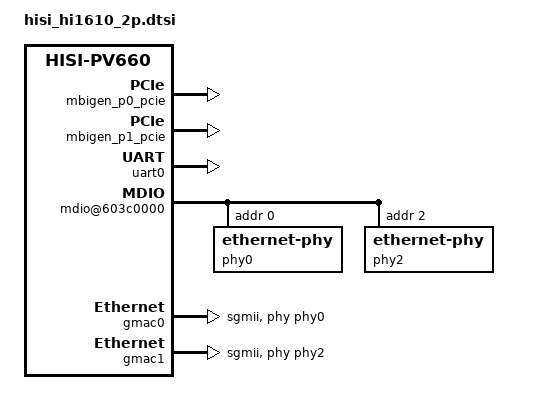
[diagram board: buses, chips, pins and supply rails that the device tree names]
/**
 * dts file for Hisilicon PhosphorV660 32core Soc
 *
 * Copyright (C) 2014,2015 Hisilicon Ltd.
 *
 * This program is free software; you can redistribute it and/or modify
 * it under the terms of the GNU General Public License version 2 as
 * publishhed by the Free Software Foundation.
 *
 */

/ {
	#address-cells = <2>;
	#size-cells = <2>;
	compatible = "hisilicon,hip05-D02", "hisilicon,hisi-pv660";
	interrupt-parent = <&gic0>;

	cpus {
		#address-cells = <1>;
		#size-cells = <0>;

		cpu-map {
			cluster0 {
				core0 {
					thread0 {
						cpu = <&CPU0>;
					};

					thread1 {
						cpu = <&CPU1>;
					};

					thread2 {
						cpu = <&CPU2>;
					};

					thread3 {
						cpu = <&CPU3>;
					};
				};

				core1 {
					thread0 {
						cpu = <&CPU4>;
					};

					thread1 {
						cpu = <&CPU5>;
					};

					thread2 {
						cpu = <&CPU6>;
					};

					thread3 {
						cpu = <&CPU7>;
					};
				};

				core2 {
					thread0 {
						cpu = <&CPU8>;
					};

					thread1 {
						cpu = <&CPU9>;
					};

					thread2 {
						cpu = <&CPU10>;
					};

					thread3 {
						cpu = <&CPU11>;
					};
				};

				core3 {
					thread0 {
						cpu = <&CPU12>;
					};

					thread1 {
						cpu = <&CPU13>;
					};

					thread2 {
						cpu = <&CPU14>;
					};

					thread3 {
						cpu = <&CPU15>;
					};
				};
			};

			cluster1 {
				core0 {
					thread0 {
						cpu = <&CPU16>;
					};

					thread1 {
						cpu = <&CPU17>;
					};

					thread2 {
						cpu = <&CPU18>;
					};

					thread3 {
						cpu = <&CPU19>;
					};
				};

				core1 {
					thread0 {
						cpu = <&CPU20>;
					};

					thread1 {
						cpu = <&CPU21>;
					};

					thread2 {
						cpu = <&CPU22>;
					};

					thread3 {
						cpu = <&CPU23>;
					};
				};

				core2 {
					thread0 {
						cpu = <&CPU24>;
					};

					thread1 {
						cpu = <&CPU25>;
					};

					thread2 {
						cpu = <&CPU26>;
					};

					thread3 {
						cpu = <&CPU27>;
					};
				};

				core3 {
					thread0 {
						cpu = <&CPU28>;
					};

					thread1 {
						cpu = <&CPU29>;
					};

					thread2 {
						cpu = <&CPU30>;
					};

					thread3 {
						cpu = <&CPU31>;
					};
				};
			};

			cluster2 {
				core0 {
					thread0 {
						cpu = <&CPU32>;
					};

					thread1 {
						cpu = <&CPU33>;
					};

					thread2 {
						cpu = <&CPU34>;
					};

					thread3 {
						cpu = <&CPU35>;
					};
				};

				core1 {
					thread0 {
						cpu = <&CPU36>;
					};

					thread1 {
						cpu = <&CPU37>;
					};

					thread2 {
						cpu = <&CPU38>;
					};

					thread3 {
						cpu = <&CPU39>;
					};
				};

				core2 {
					thread0 {
						cpu = <&CPU40>;
					};

					thread1 {
						cpu = <&CPU41>;
					};

					thread2 {
						cpu = <&CPU42>;
					};

					thread3 {
						cpu = <&CPU43>;
					};
				};

				core3 {
					thread0 {
						cpu = <&CPU44>;
					};

					thread1 {
						cpu = <&CPU45>;
					};

					thread2 {
						cpu = <&CPU46>;
					};

					thread3 {
						cpu = <&CPU47>;
					};
				};
			};

			cluster3 {
				core0 {
					thread0 {
						cpu = <&CPU48>;
					};

					thread1 {
						cpu = <&CPU49>;
					};

					thread2 {
						cpu = <&CPU50>;
					};

					thread3 {
						cpu = <&CPU51>;
					};
				};

				core1 {
					thread0 {
						cpu = <&CPU52>;
					};

					thread1 {
						cpu = <&CPU53>;
					};

					thread2 {
						cpu = <&CPU54>;
					};

					thread3 {
						cpu = <&CPU55>;
					};
				};

				core2 {
					thread0 {
						cpu = <&CPU56>;
					};

					thread1 {
						cpu = <&CPU57>;
					};

					thread2 {
						cpu = <&CPU58>;
					};

					thread3 {
						cpu = <&CPU59>;
					};
				};

				core3 {
					thread0 {
						cpu = <&CPU60>;
					};

					thread1 {
						cpu = <&CPU61>;
					};

					thread2 {
						cpu = <&CPU62>;
					};

					thread3 {
						cpu = <&CPU63>;
					};
				};
			};
		};

		CPU0: cpu@10000 {
			device_type = "cpu";
			compatible = "arm,armv8";
			reg = <0x10000>;
			enable-method = "spin-table";
			cpu-release-addr = <0x0 0xfff8>;
		};

		CPU1: cpu@10001 {
			device_type = "cpu";
			compatible = "arm,armv8";
			reg = <0x10001>;
			enable-method = "spin-table";
			cpu-release-addr = <0x0 0xfff8>;
		};

		CPU2: cpu@10002 {
			device_type = "cpu";
			compatible = "arm,armv8";
			reg = <0x10002>;
			enable-method = "spin-table";
			cpu-release-addr = <0x0 0xfff8>;
		};

		CPU3: cpu@10003 {
			device_type = "cpu";
			compatible = "arm,armv8";
			reg = <0x10003>;
			enable-method = "spin-table";
			cpu-release-addr = <0x0 0xfff8>;
		};

		CPU4: cpu@10100 {
			device_type = "cpu";
			compatible = "arm,armv8";
			reg = <0x10100>;
			enable-method = "spin-table";
			cpu-release-addr = <0x0 0xfff8>;
		};

		CPU5: cpu@10101 {
			device_type = "cpu";
			compatible = "arm,armv8";
			reg = <0x10101>;
			enable-method = "spin-table";
			cpu-release-addr = <0x0 0xfff8>;
		};

		CPU6: cpu@10102 {
			device_type = "cpu";
			compatible = "arm,armv8";
			reg = <0x10102>;
			enable-method = "spin-table";
			cpu-release-addr = <0x0 0xfff8>;
		};

		CPU7: cpu@10103 {
			device_type = "cpu";
			compatible = "arm,armv8";
			reg = <0x10103>;
			enable-method = "spin-table";
			cpu-release-addr = <0x0 0xfff8>;
		};

		CPU8: cpu@10200 {
			device_type = "cpu";
			compatible = "arm,armv8";
			reg = <0x10200>;
			enable-method = "spin-table";
			cpu-release-addr = <0x0 0xfff8>;
		};

		CPU9: cpu@10201 {
			device_type = "cpu";
			compatible = "arm,armv8";
			reg = <0x10201>;
			enable-method = "spin-table";
			cpu-release-addr = <0x0 0xfff8>;
		};

		CPU10: cpu@10202 {
			device_type = "cpu";
			compatible = "arm,armv8";
			reg = <0x10202>;
			enable-method = "spin-table";
			cpu-release-addr = <0x0 0xfff8>;
		};

		CPU11: cpu@10203 {
			device_type = "cpu";
			compatible = "arm,armv8";
			reg = <0x10203>;
			enable-method = "spin-table";
			cpu-release-addr = <0x0 0xfff8>;
		};

		CPU12: cpu@10300 {
			device_type = "cpu";
			compatible = "arm,armv8";
			reg = <0x10300>;
			enable-method = "spin-table";
			cpu-release-addr = <0x0 0xfff8>;
		};

		CPU13: cpu@10301 {
			device_type = "cpu";
			compatible = "arm,armv8";
			reg = <0x10301>;
			enable-method = "spin-table";
			cpu-release-addr = <0x0 0xfff8>;
		};

		CPU14: cpu@10302 {
			device_type = "cpu";
			compatible = "arm,armv8";
			reg = <0x10302>;
			enable-method = "spin-table";
			cpu-release-addr = <0x0 0xfff8>;
		};

		CPU15: cpu@10303 {
			device_type = "cpu";
			compatible = "arm,armv8";
			reg = <0x10303>;
			enable-method = "spin-table";
			cpu-release-addr = <0x0 0xfff8>;
		};

		CPU16: cpu@20000 {
			device_type = "cpu";
			compatible = "arm,armv8";
			reg = <0x20000>;
			enable-method = "spin-table";
			cpu-release-addr = <0x0 0xfff8>;
		};

		CPU17: cpu@20001 {
			device_type = "cpu";
			compatible = "arm,armv8";
			reg = <0x20001>;
			enable-method = "spin-table";
			cpu-release-addr = <0x0 0xfff8>;
		};

		CPU18: cpu@20002 {
			device_type = "cpu";
			compatible = "arm,armv8";
			reg = <0x20002>;
			enable-method = "spin-table";
			cpu-release-addr = <0x0 0xfff8>;
		};

		CPU19: cpu@20003 {
			device_type = "cpu";
			compatible = "arm,armv8";
			reg = <0x20003>;
			enable-method = "spin-table";
			cpu-release-addr = <0x0 0xfff8>;
		};

		CPU20: cpu@20100 {
			device_type = "cpu";
			compatible = "arm,armv8";
			reg = <0x20100>;
			enable-method = "spin-table";
			cpu-release-addr = <0x0 0xfff8>;
		};

		CPU21: cpu@20101 {
			device_type = "cpu";
			compatible = "arm,armv8";
			reg = <0x20101>;
			enable-method = "spin-table";
			cpu-release-addr = <0x0 0xfff8>;
		};

		CPU22: cpu@20102 {
			device_type = "cpu";
			compatible = "arm,armv8";
			reg = <0x20102>;
			enable-method = "spin-table";
			cpu-release-addr = <0x0 0xfff8>;
		};

		CPU23: cpu@20103 {
			device_type = "cpu";
			compatible = "arm,armv8";
			reg = <0x20103>;
			enable-method = "spin-table";
			cpu-release-addr = <0x0 0xfff8>;
		};

		CPU24: cpu@20200 {
			device_type = "cpu";
			compatible = "arm,armv8";
			reg = <0x20200>;
			enable-method = "spin-table";
			cpu-release-addr = <0x0 0xfff8>;
		};

		CPU25: cpu@20201 {
			device_type = "cpu";
			compatible = "arm,armv8";
			reg = <0x20201>;
			enable-method = "spin-table";
			cpu-release-addr = <0x0 0xfff8>;
		};

		CPU26: cpu@20202 {
			device_type = "cpu";
			compatible = "arm,armv8";
			reg = <0x20202>;
			enable-method = "spin-table";
			cpu-release-addr = <0x0 0xfff8>;
		};

		CPU27: cpu@20203 {
			device_type = "cpu";
			compatible = "arm,armv8";
			reg = <0x20203>;
			enable-method = "spin-table";
			cpu-release-addr = <0x0 0xfff8>;
		};

		CPU28: cpu@20300 {
			device_type = "cpu";
			compatible = "arm,armv8";
			reg = <0x20300>;
			enable-method = "spin-table";
			cpu-release-addr = <0x0 0xfff8>;
		};

		CPU29: cpu@20301 {
			device_type = "cpu";
			compatible = "arm,armv8";
			reg = <0x20301>;
			enable-method = "spin-table";
			cpu-release-addr = <0x0 0xfff8>;
		};

		CPU30: cpu@20302 {
			device_type = "cpu";
			compatible = "arm,armv8";
			reg = <0x20302>;
			enable-method = "spin-table";
			cpu-release-addr = <0x0 0xfff8>;
		};

		CPU31: cpu@20303 {
			device_type = "cpu";
			compatible = "arm,armv8";
			reg = <0x20303>;
			enable-method = "spin-table";
			cpu-release-addr = <0x0 0xfff8>;
		};

		CPU32: cpu@50000 {
			device_type = "cpu";
			compatible = "arm,armv8";
			reg = <0x50000>;
			enable-method = "spin-table";
			cpu-release-addr = <0x0 0xfff8>;
		};

		CPU33: cpu@50001 {
			device_type = "cpu";
			compatible = "arm,armv8";
			reg = <0x50001>;
			enable-method = "spin-table";
			cpu-release-addr = <0x0 0xfff8>;
		};

		CPU34: cpu@50002 {
			device_type = "cpu";
			compatible = "arm,armv8";
			reg = <0x50002>;
			enable-method = "spin-table";
			cpu-release-addr = <0x0 0xfff8>;
		};

		CPU35: cpu@50003 {
			device_type = "cpu";
			compatible = "arm,armv8";
			reg = <0x50003>;
			enable-method = "spin-table";
			cpu-release-addr = <0x0 0xfff8>;
		};

		CPU36: cpu@50100 {
			device_type = "cpu";
			compatible = "arm,armv8";
			reg = <0x50100>;
			enable-method = "spin-table";
			cpu-release-addr = <0x0 0xfff8>;
		};

		CPU37: cpu@50101 {
			device_type = "cpu";
			compatible = "arm,armv8";
			reg = <0x50101>;
			enable-method = "spin-table";
			cpu-release-addr = <0x0 0xfff8>;
		};

		CPU38: cpu@50102 {
			device_type = "cpu";
			compatible = "arm,armv8";
			reg = <0x50102>;
			enable-method = "spin-table";
			cpu-release-addr = <0x0 0xfff8>;
		};

		CPU39: cpu@50103 {
			device_type = "cpu";
			compatible = "arm,armv8";
			reg = <0x50103>;
			enable-method = "spin-table";
			cpu-release-addr = <0x0 0xfff8>;
		};

		CPU40: cpu@50200 {
			device_type = "cpu";
			compatible = "arm,armv8";
			reg = <0x50200>;
			enable-method = "spin-table";
			cpu-release-addr = <0x0 0xfff8>;
		};

		CPU41: cpu@50201 {
			device_type = "cpu";
			compatible = "arm,armv8";
			reg = <0x50201>;
			enable-method = "spin-table";
			cpu-release-addr = <0x0 0xfff8>;
		};

		CPU42: cpu@50202 {
			device_type = "cpu";
			compatible = "arm,armv8";
			reg = <0x50202>;
			enable-method = "spin-table";
			cpu-release-addr = <0x0 0xfff8>;
		};

		CPU43: cpu@50203 {
			device_type = "cpu";
			compatible = "arm,armv8";
			reg = <0x50203>;
			enable-method = "spin-table";
			cpu-release-addr = <0x0 0xfff8>;
		};

		CPU44: cpu@50300 {
			device_type = "cpu";
			compatible = "arm,armv8";
			reg = <0x50300>;
			enable-method = "spin-table";
			cpu-release-addr = <0x0 0xfff8>;
		};

		CPU45: cpu@50301 {
			device_type = "cpu";
			compatible = "arm,armv8";
			reg = <0x50301>;
			enable-method = "spin-table";
			cpu-release-addr = <0x0 0xfff8>;
		};

		CPU46: cpu@50302 {
			device_type = "cpu";
			compatible = "arm,armv8";
			reg = <0x50302>;
			enable-method = "spin-table";
			cpu-release-addr = <0x0 0xfff8>;
		};

		CPU47: cpu@50303 {
			device_type = "cpu";
			compatible = "arm,armv8";
			reg = <0x50303>;
			enable-method = "spin-table";
			cpu-release-addr = <0x0 0xfff8>;
		};

		CPU48: cpu@60000 {
			device_type = "cpu";
			compatible = "arm,armv8";
			reg = <0x60000>;
			enable-method = "spin-table";
			cpu-release-addr = <0x0 0xfff8>;
		};

		CPU49: cpu@60001 {
			device_type = "cpu";
			compatible = "arm,armv8";
			reg = <0x60001>;
			enable-method = "spin-table";
			cpu-release-addr = <0x0 0xfff8>;
		};

		CPU50: cpu@60002 {
			device_type = "cpu";
			compatible = "arm,armv8";
			reg = <0x60002>;
			enable-method = "spin-table";
			cpu-release-addr = <0x0 0xfff8>;
		};

		CPU51: cpu@60003 {
			device_type = "cpu";
			compatible = "arm,armv8";
			reg = <0x60003>;
			enable-method = "spin-table";
			cpu-release-addr = <0x0 0xfff8>;
		};

		CPU52: cpu@60100 {
			device_type = "cpu";
			compatible = "arm,armv8";
			reg = <0x60100>;
			enable-method = "spin-table";
			cpu-release-addr = <0x0 0xfff8>;
		};

		CPU53: cpu@60101 {
			device_type = "cpu";
			compatible = "arm,armv8";
			reg = <0x60101>;
			enable-method = "spin-table";
			cpu-release-addr = <0x0 0xfff8>;
		};

		CPU54: cpu@60102 {
			device_type = "cpu";
			compatible = "arm,armv8";
			reg = <0x60102>;
			enable-method = "spin-table";
			cpu-release-addr = <0x0 0xfff8>;
		};

		CPU55: cpu@60103 {
			device_type = "cpu";
			compatible = "arm,armv8";
			reg = <0x60103>;
			enable-method = "spin-table";
			cpu-release-addr = <0x0 0xfff8>;
		};

		CPU56: cpu@60200 {
			device_type = "cpu";
			compatible = "arm,armv8";
			reg = <0x60200>;
			enable-method = "spin-table";
			cpu-release-addr = <0x0 0xfff8>;
		};

		CPU57: cpu@60201 {
			device_type = "cpu";
			compatible = "arm,armv8";
			reg = <0x60201>;
			enable-method = "spin-table";
			cpu-release-addr = <0x0 0xfff8>;
		};

		CPU58: cpu@60202 {
			device_type = "cpu";
			compatible = "arm,armv8";
			reg = <0x60202>;
			enable-method = "spin-table";
			cpu-release-addr = <0x0 0xfff8>;
		};

		CPU59: cpu@60203 {
			device_type = "cpu";
			compatible = "arm,armv8";
			reg = <0x60203>;
			enable-method = "spin-table";
			cpu-release-addr = <0x0 0xfff8>;
		};

		CPU60: cpu@60300 {
			device_type = "cpu";
			compatible = "arm,armv8";
			reg = <0x60300>;
			enable-method = "spin-table";
			cpu-release-addr = <0x0 0xfff8>;
		};

		CPU61: cpu@60301 {
			device_type = "cpu";
			compatible = "arm,armv8";
			reg = <0x60301>;
			enable-method = "spin-table";
			cpu-release-addr = <0x0 0xfff8>;
		};

		CPU62: cpu@60302 {
			device_type = "cpu";
			compatible = "arm,armv8";
			reg = <0x60302>;
			enable-method = "spin-table";
			cpu-release-addr = <0x0 0xfff8>;
		};

		CPU63: cpu@60303 {
			device_type = "cpu";
			compatible = "arm,armv8";
			reg = <0x60303>;
			enable-method = "spin-table";
			cpu-release-addr = <0x0 0xfff8>;
		};

	};

	gic0: interrupt-controller@6d000000 {
		compatible = "hisilicon,gic-v3";
		#interrupt-cells = <3>;
		#address-cells = <2>;
		#size-cells = <2>;
		ranges;
		interrupt-controller;
		#redistributor-regions = <4>;
		redistributor-stride = <0x0 0x30000>;
		reg = <0x0 0x6d000000 0x0 0x10000>,	/* P0 GICD A*/
		      <0x0 0x6d100000 0x0 0x300000>,	/* P0 GICR A*/
		      <0x0 0x4d100000 0x0 0x300000>,	/* P0 GICR C*/
		      <0x400 0x6d100000 0x0 0x300000>,	/* P1 GICR A*/
		      <0x400 0x4d100000 0x0 0x300000>,	/* P1 GICR C*/
		      <0x0 0xfe000000 0 0x10000>,	/* GICC */
		      <0x0 0xfe010000 0 0x10000>,	/* GICH */
		      <0x0 0xfe020000 0 0x10000>;	/* GICV */

		interrupts = <1 9 0xff04>;

		p0_its_dsa: interrupt-controller@c6000000 {
			compatible = "arm,gic-v3-its";
			msi-controller;
			reg = <0x0 0xc6000000 0x0 0x1000000>;
		};

		p1_its_dsa: interrupt-controller@400c6000000 {
			compatible = "arm,gic-v3-its";
			msi-controller;
			reg = <0x400 0xc6000000 0x0 0x1000000>;
		};
	};

	gic1: interrupt-controller@4d000000 {		/* P0 GICD C*/
		compatible = "hisilicon,gic-v3";
		#interrupt-cells = <3>;
		#address-cells = <2>;
		#size-cells = <2>;
		interrupt-controller;
		reg = <0x0 0x4d000000 0x0 0x10000>;
	};

	gic2: interrupt-controller@4006d000000 {	/* P1 GICD A*/
		compatible = "hisilicon,gic-v3";
		#interrupt-cells = <3>;
		#address-cells = <2>;
		#size-cells = <2>;
		interrupt-controller;
		reg = <0x400 0x6d000000 0x0 0x10000>;
	};

	gic3: interrupt-controller@4004d000000 {	/* P1 GICD C*/
		compatible = "hisilicon,gic-v3";
		#interrupt-cells = <3>;
		#address-cells = <2>;
		#size-cells = <2>;
		interrupt-controller;
		reg = <0x400 0x4d000000 0x0 0x10000>;
	};
/*
	smmu_p0_ta@40040000 {
		compatible = "hisilicon,smmu-v1";
		reg = <0x0 0x40040000 0x0 0x1000>;
		#global-interrupts = <1>;
		interrupts = <0 188 4>,
			     <0 188 4>;
		smmu-cb-memtype = <0 1>;
		smmu-bypass-vmid = <0xff>;
	};

	smmu_p0_tc@60040000 {
		compatible = "hisilicon,smmu-v1";
		reg = <0x0 0x60040000 0x0 0x1000>;
		#global-interrupts = <1>;
		interrupts = <0 316 4>,
			     <0 316 4>;
		smmu-cb-memtype = <0 1>;
		smmu-bypass-vmid = <0xff>;
	};

	smmu_p0_m3@a0040000 {
		compatible = "hisilicon,smmu-v1";
		interrupt-parent = <&mbigen_p0_m3>;
		reg = <0x0 0xa0040000 0x0 0x1000>;
		#global-interrupts = <1>;
		interrupts = <65 1>,
			     <65 1>;
		smmu-cb-memtype = <0 1>;
		smmu-bypass-vmid = <0xff>;
	};

	smmu_p0_alg@d0040000 {
		compatible = "hisilicon,smmu-v1";
		interrupt-parent = <&mbigen_p0_alg>;
		reg = <0x0 0xd0040000 0x0 0x1000>;
		#global-interrupts = <1>;
		interrupts = <67 1>,
			     <67 1>;
		smmu-cb-memtype = <0 1>;
		smmu-bypass-vmid = <0xff>;
	};

	smmu_p0_dsa@c0040000 {
		compatible = "hisilicon,smmu-v1";
		interrupt-parent = <&mbigen_p0_dsa>;
		reg = <0x0 0xc0040000 0x0 0x1000>;
		#global-interrupts = <1>;
		interrupts = <69 4>,
			     <69 4>;
		smmu-cb-memtype = <0 1>;
		smmu-bypass-vmid = <0xff>;
	};

	smmu_p0_pcie@b0040000 {
		compatible = "hisilicon,smmu-v1";
		interrupt-parent = <&mbigen_p0_pcie>;
		reg = <0x0 0xb0040000 0x0 0x1000>;
		#global-interrupts = <1>;
		interrupts = <71 1>,
			     <71 1>;
		smmu-cb-memtype = <0 1>, <1 2>;
		smmu-bypass-vmid = <0xff>;
	};

	smmu_p1_ta@40040040000 {
		compatible = "hisilicon,smmu-v1";
		reg = <0x400 0x40040000 0x0 0x1000>;
		#global-interrupts = <1>;
		interrupts = <0 188 4>,
			     <0 188 4>;
		smmu-cb-memtype = <0 1>;
		smmu-bypass-vmid = <0xff>;
	};

	smmu_p1_tc@40060040000 {
		compatible = "hisilicon,smmu-v1";
		reg = <0x400 0x60040000 0x0 0x1000>;
		#global-interrupts = <1>;
		interrupts = <0 316 4>,
			     <0 316 4>;
		smmu-cb-memtype = <0 1>;
		smmu-bypass-vmid = <0xff>;
	};

	smmu_p1_m3@400a0040000 {
		compatible = "hisilicon,smmu-v1";
		interrupt-parent = <&mbigen_p1_m3>;
		reg = <0x400 0xa0040000 0x0 0x1000>;
		#global-interrupts = <1>;
		interrupts = <65 1>,
			     <65 1>;
		smmu-cb-memtype = <0 1>;
		smmu-bypass-vmid = <0xff>;
	};

	smmu_p1_alg@400d0040000 {
		compatible = "hisilicon,smmu-v1";
		interrupt-parent = <&mbigen_p1_alg>;
		reg = <0x400 0xd0040000 0x0 0x1000>;
		#global-interrupts = <1>;
		interrupts = <67 1>,
			     <67 1>;
		smmu-cb-memtype = <0 1>;
		smmu-bypass-vmid = <0xff>;
	};

	smmu_p1_dsa@400c0040000 {
		compatible = "hisilicon,smmu-v1";
		interrupt-parent = <&mbigen_p1_dsa>;
		reg = <0x400 0xc0040000 0x0 0x1000>;
		#global-interrupts = <1>;
		interrupts = <69 4>,
			     <69 4>;
		smmu-cb-memtype = <0 1>;
		smmu-bypass-vmid = <0xff>;
	};

	smmu_p1_pcie@400b0040000 {
		compatible = "hisilicon,smmu-v1";
		interrupt-parent = <&mbigen_p1_pcie>;
		reg = <0x400 0xb0040000 0x0 0x1000>;
		#global-interrupts = <1>;
		interrupts = <71 1>,
			     <71 1>;
		smmu-cb-memtype = <0 1>, <1 2>;
		smmu-bypass-vmid = <0xff>;
	};
*/
	timer {
		compatible = "arm,armv8-timer";
		interrupts = <1 13 4>,
			     <1 14 4>,
			     <1 11 4>,
			     <1 10 4>;
	};

	sas: sas@b1000000 {
		compatible = "pv660, sas_controller";
		reg = <0 0xb1000000 0 0x10000>,
		      <0 0xc1000000 0 0x10000>;
		dma-coherent;
	};

	pmu {
		compatible = "arm,armv8-pmuv3";
		interrupts = <1 7 4>;
	};

	hipv660-cpufreq {
		compatible = "hisilicon,hip-cpufreq";
		reg = <0x0 0x40010000 0x0 0x10000>,
		      <0x0 0x80000000 0x0 0x10000>,
		      <0x0 0xe0000000 0x0 0x10000>;
	};

	peripherals {
		compatible = "simple-bus";
		#address-cells = <2>;
		#size-cells = <2>;
		ranges = <0x0 0x0 0x0 0x0 0xfff 0xffffffff>;

		peri_clk: peri_clk {
			compatible = "fixed-clock";
			#clock-cells = <0>;
			clock-frequency = <200000000>;
		};

		m3_clk: m3_clk {
			compatible = "fixed-clock";
			#clock-cells = <0>;
			clock-frequency = <175000000>;
		};

		mbigen_p0_alg: interrupt-controller@d0080000 {
			compatible = "hisilicon,mbigen-v2";
			msi-parent = <&p0_its_dsa>;
			interrupt-controller;
			#interrupt-cells = <4>;
			reg = <0x0 0xd0080000 0x0 0x10000>;
		};

		mbigen_p0_dsa: interrupt-controller@c0080000 {
			compatible = "hisilicon,mbigen-v2";
			msi-parent = <&p0_its_dsa>;
			interrupt-controller;
			#interrupt-cells = <4>;
			reg = <0x0 0xc0080000 0x0 0x10000>;
		};

		mbigen_p0_pcie: interrupt-controller@a0080000 {
			compatible = "hisilicon,mbigen-v2";
			msi-parent = <&p0_its_dsa>;
			interrupt-controller;
			#interrupt-cells = <4>;
			reg = <0x0 0xa0080000 0x0 0x10000>;
		};

		mbigen_p1_alg: interrupt-controller@400d0080000 {
			compatible = "hisilicon,mbigen-v2";
			msi-parent = <&p1_its_dsa>;
			interrupt-controller;
			#interrupt-cells = <4>;
			reg = <0x400 0xd0080000 0x0 0x10000>;
		};

		mbigen_p1_dsa: interrupt-controller@400c0080000 {
			compatible = "hisilicon,mbigen-v2";
			msi-parent = <&p1_its_dsa>;
			interrupt-controller;
			#interrupt-cells = <4>;
			reg = <0x400 0xc0080000 0x0 0x10000>;
		};

		mbigen_p1_pcie: interrupt-controller@400a0080000 {
			compatible = "hisilicon,mbigen-v2";
			msi-parent = <&p1_its_dsa>;
			interrupt-controller;
			#interrupt-cells = <4>;
			reg = <0x400 0xa0080000 0x0 0x10000>;
		};

		uart0: uart@60300000 {
			compatible = "snps,dw-apb-uart";
			reg = <0x0 0x60300000 0x0 0x10000>;
			interrupts = <0 317 4>;
			clocks = <&peri_clk>;
			clock-names = "apb_pclk";
			reg-shift = <2>;
		};

		mdio@603c0000 {
			compatible = "hisilicon, hip05-mdio";
			reg = <0x0 0x603c0000 0x0 0x1000>;
			#address-cells = <1>;
			#size-cells = <0>;

			phy0: ethernet-phy@0 {
				compatile = "ethernet-phy-ieee802.3-c22";
				reg = <0x0>;
				max-speed = <100>;
			};

			phy2: ethernet-phy@2 {
				compatile = "ethernet-phy-ieee802.3-c22";
				reg = <0x2>;
				max-speed = <100>;
			};
		};

		ppe0: ppe@c2000000 {
			compatible = "hisilicon, hip05-ppe", "syscon";
			reg = <0x0 0xc2000000 0x0 0x1000>;
		};

		ge0: ge@c2001000 {
			compatible = "hisilicon, hip05-ge", "syscon";
			reg = <0x0 0xc2001000 0x0 0x1000>;
		};

		ppe1: ppe@c2100000 {
			compatible = "hisilicon, hip05-ppe", "syscon";
			reg = <0x0 0xc2100000 0x0 0x1000>;
		};

		ge1: ge@c2101000 {
			compatible = "hisilicon, hip05-ge", "syscon";
			reg = <0x0 0xc2101000 0x0 0x1000>;
		};

		gmac0: ethernet@c2080000 {
			compatible = "hisilicon, hip05-mac";
			#address-cells = <1>;
			#size-cells = <0>;
			interrupt-parent = <&mbigen_p0_dsa>;
			reg = <0x0 0xc2080000 0x0 0x20000>,
			      <0x0 0xc0000000 0x0 0x1000>;
			interrupts = <0x40b1c 9 0 6>, /* rx irq */
				     <0x40b1c 9 1 6>; /* tx irq */
			phy-mode = "sgmii";
			mac-address = [11 11 11 11 11 11];
			phy-handle = <&phy0>;
			ppe-handle = <&ppe0 0>;
			ge-handle = <&ge0 100 1>;
			dma-coherent;
		};

		gmac1: ethernet@c2180000 {
			compatible = "hisilicon, hip05-mac";
			#address-cells = <1>;
			#size-cells = <0>;
			interrupt-parent = <&mbigen_p0_dsa>;
			reg = <0x0 0xc2180000 0x0 0x30000>,
			      <0x0 0xc0000000 0x0 0x1000>;
			interrupts = <21 1>, /* rx irq */
				     <20 1>; /* tx irq */
			phy-mode = "sgmii";
			mac-address = [11 11 11 11 11 11];
			phy-handle = <&phy2>;
			ppe-handle = <&ppe1 0>;
			ge-handle = <&ge1 100 1>;
			dma-coherent;
		};
	};

/*	pcie@0xb0070000 {
		compatible = "hisilicon,hip05-pcie", "snps,dw-pcie";
		reg = <0 0xb0070000 0 0x10000>, <0 0xb0000000 0 0x10000>,
		      <0 0xb00c0000 0 0x10000>, <0 0xb3000000 0 0x1000>;
		reg-names = "rc_dbi", "subctrl", "pcs", "config";
		bus-range = <0 15>;
		msi-parent = <&p0_its_pcie>;
		#address-cells = <3>;
		#size-cells = <2>;
		device_type = "pci";
		dma-coherent;
		ranges = <0x82000000 0 0xb3100000 0x0 0xb3100000 0 0x00f00000>;
		num-lanes = <8>;
		port-id = <0>;
		status = "disabled";
	};

	pcie@0xb0080000 {
		compatible = "hisilicon,hip05-pcie", "snps,dw-pcie";
		reg = <0 0xb0080000 0 0x10000>, <0 0xb0000000 0 0x10000>,
		      <0 0xb00d0000 0 0x10000>, <0 0xba000000 0 0x2000>,
		      <0 0xb2000000 0 0x40000>;
		reg-names = "rc_dbi", "subctrl", "pcs", "config", "serdes";
		bus-range = <16 31>;
		msi-parent = <&p0_its_pcie>;
		#address-cells = <3>;
		#size-cells = <2>;
		device_type = "pci";
		dma-coherent;
		ranges = <0x82000000 0x0 0xba002000 0x0 0xba002000 0x0 0x2e00000>;
		num-lanes = <8>;
		port-id = <1>;
		status = "ok";
	};

	pcie@0xb0090000 {
		compatible = "hisilicon,hip05-pcie", "snps,dw-pcie";
		reg = <0 0xb0090000 0 0x10000>, <0 0xb0000000 0 0x10000>,
		      <0 0xb00e0000 0 0x10000>, <0 0xbc000000 0 0x2000>,
		      <0 0xb2100000 0 0x40000>;
		reg-names = "rc_dbi", "subctrl", "pcs", "config", "serdes";
		bus-range = <32 47>;
		msi-parent = <&p0_its_pcie>;
		#address-cells = <3>;
		#size-cells = <2>;
		device_type = "pci";
		dma-coherent;
		ranges = <0x82000000 0x0 0xbc002000 0x0 0xbc002000 0x0 0x2e00000>;
		num-lanes = <8>;
		port-id = <2>;
		status = "ok";
	};

	pcie@0xb00a0000 {
		compatible = "hisilicon,hip05-pcie", "snps,dw-pcie";
		reg = <0 0xb00a0000 0 0x10000>, <0 0xb0000000 0 0x10000>,
		      <0 0xb00f0000 0 0x10000>, <0 0xbe000000 0 0x2000>;
		reg-names = "rc_dbi", "subctrl", "pcs", "config";
		bus-range = <48 63>;
		msi-parent = <&p0_its_pcie>;
		#address-cells = <3>;
		#size-cells = <2>;
		device_type = "pci";
		dma-coherent;
		ranges = <0x82000000 0x0 0xbe002000 0x0 0xbe002000 0x0 0x2e00000>;
		num-lanes = <8>;
		port-id = <3>;
		status = "ok";
	};


	pcie@0x400b0080000 {
		compatible = "hisilicon,hip05-pcie", "snps,dw-pcie";
		reg = <0x400 0xb0080000 0x0 0x10000>, <0x400 0xb0000000 0x0 0x10000>,
		      <0x400 0xb00d0000 0x0 0x10000>, <0x400 0xba000000 0x0 0x2000>,
		      <0x400 0xb2000000 0x0 0x40000>;
		reg-names = "rc_dbi", "subctrl", "pcs", "config", "serdes";
		bus-range = <64 79>;
		msi-parent = <&p1_its_pcie>;
		#address-cells = <3>;
		#size-cells = <2>;
		device_type = "pci";
		dma-coherent;
		ranges = <0x82000000 0x400 0xba002000 0x400 0xba002000 0x0 0x2e00000>;
		num-lanes = <8>;
		port-id = <5>;
		status = "ok";
	};

	pcie@0x400b0090000 {
		compatible = "hisilicon,hip05-pcie", "snps,dw-pcie";
		reg = <0x400 0xb0090000 0x0 0x10000>, <0x400 0xb0000000 0x0 0x10000>,
		      <0x400 0xb00e0000 0x0 0x10000>, <0x400 0xbc000000 0x0 0x2000>,
		      <0x400 0xb2100000 0x0 0x40000>;
		reg-names = "rc_dbi", "subctrl", "pcs", "config", "serdes";
		bus-range = <80 95>;
		msi-parent = <&p1_its_pcie>;
		#address-cells = <3>;
		#size-cells = <2>;
		device_type = "pci";
		dma-coherent;
		ranges = <0x82000000 0x400 0xbc002000 0x400 0xbc002000 0x0 0x2e00000>;
		num-lanes = <8>;
		port-id = <6>;
		status = "ok";
	};
*/
};
